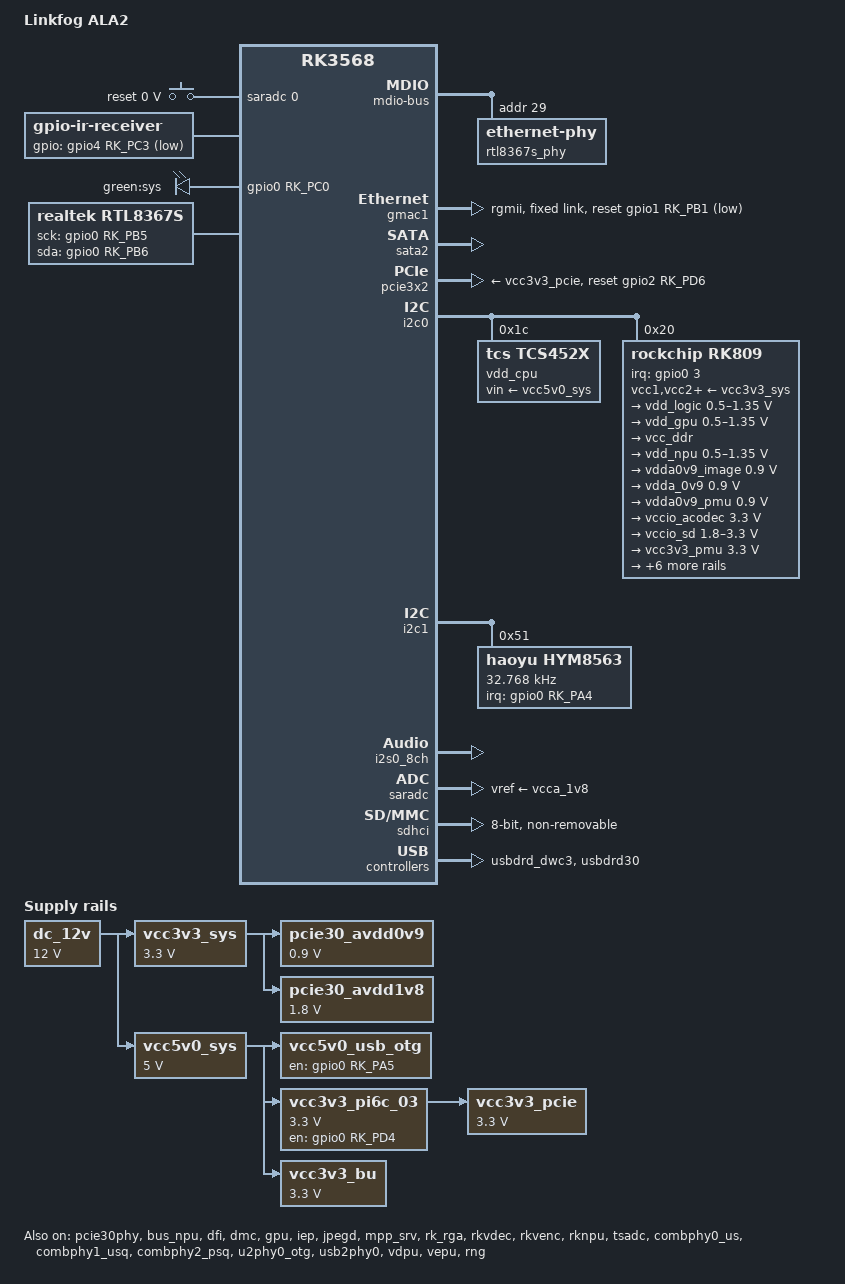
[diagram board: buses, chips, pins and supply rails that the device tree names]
// SPDX-License-Identifier: (GPL-2.0+ OR MIT)
/*
 * Copyright (c) 2020 Rockchip Electronics Co., Ltd.
 *
 */

/dts-v1/;

#include <dt-bindings/gpio/gpio.h>
#include <dt-bindings/pinctrl/rockchip.h>
#include <dt-bindings/input/rk-input.h>
#include "rk3568.dtsi"
#include "../rockchip-drm-vvop.dtsi"

/ {
	model = "Linkfog ALA2";
	compatible = "linkfog,ala2", "rockchip,rk3568";

	chosen: chosen {
		bootargs = "earlycon=uart8250,mmio32,0xfe660000 console=ttyFIQ0 root=PARTUUID=614e0000-0000 rw rootwait";
	};

	aliases {
		led-boot = &sys_led;
		led-failsafe = &sys_led;
		led-running = &sys_led;
		led-upgrade = &sys_led;
	};

	fiq-debugger {
		compatible = "rockchip,fiq-debugger";
		rockchip,serial-id = <2>;
		rockchip,wake-irq = <0>;
		/* If enable uart uses irq instead of fiq */
		rockchip,irq-mode-enable = <1>;
		rockchip,baudrate = <1500000>;  /* Only 115200 and 1500000 */
		interrupts = <GIC_SPI 252 IRQ_TYPE_LEVEL_LOW>;
		pinctrl-names = "default";
		pinctrl-0 = <&uart2m0_xfer>;
		status = "okay";
	};

	debug: debug@fd904000 {
		compatible = "rockchip,debug";
		reg = <0x0 0xfd904000 0x0 0x1000>,
			<0x0 0xfd905000 0x0 0x1000>,
			<0x0 0xfd906000 0x0 0x1000>,
			<0x0 0xfd907000 0x0 0x1000>;
	};

	cspmu: cspmu@fd90c000 {
		compatible = "rockchip,cspmu";
		reg = <0x0 0xfd90c000 0x0 0x1000>,
			<0x0 0xfd90d000 0x0 0x1000>,
			<0x0 0xfd90e000 0x0 0x1000>,
			<0x0 0xfd90f000 0x0 0x1000>;
	};

	dc_12v: dc-12v {
		compatible = "regulator-fixed";
		regulator-name = "dc_12v";
		regulator-always-on;
		regulator-boot-on;
		regulator-min-microvolt = <12000000>;
		regulator-max-microvolt = <12000000>;
	};

	vcc3v3_sys: vcc3v3-sys {
		compatible = "regulator-fixed";
		regulator-name = "vcc3v3_sys";
		regulator-always-on;
		regulator-boot-on;
		regulator-min-microvolt = <3300000>;
		regulator-max-microvolt = <3300000>;
		vin-supply = <&dc_12v>;
	};

	vcc5v0_sys: vcc5v0-sys {
		compatible = "regulator-fixed";
		regulator-name = "vcc5v0_sys";
		regulator-always-on;
		regulator-boot-on;
		regulator-min-microvolt = <5000000>;
		regulator-max-microvolt = <5000000>;
		vin-supply = <&dc_12v>;
	};

	vcc5v0_usb_otg: vcc5v0-usb-otg {
		compatible = "regulator-fixed";
		enable-active-high;
		gpio = <&gpio0 RK_PA5 GPIO_ACTIVE_HIGH>;
		pinctrl-names = "default";
		pinctrl-0 = <&vcc5v0_otg_en>;
		regulator-name = "vcc5v0_usb_otg";
		vin-supply = <&vcc5v0_sys>;
	};

	pcie30_avdd0v9: pcie30-avdd0v9 {
		compatible = "regulator-fixed";
		regulator-name = "pcie30_avdd0v9";
		regulator-always-on;
		regulator-boot-on;
		regulator-min-microvolt = <900000>;
		regulator-max-microvolt = <900000>;
		vin-supply = <&vcc3v3_sys>;
	};

	pcie30_avdd1v8: pcie30-avdd1v8 {
		compatible = "regulator-fixed";
		regulator-name = "pcie30_avdd1v8";
		regulator-always-on;
		regulator-boot-on;
		regulator-min-microvolt = <1800000>;
		regulator-max-microvolt = <1800000>;
		vin-supply = <&vcc3v3_sys>;
	};

    vcc3v3_pi6c_03: vcc3v3-pi6c-03 {
		compatible = "regulator-fixed";
		regulator-name = "vcc3v3_pi6c_03";
		pinctrl-names = "default";
		pinctrl-0 = <&vcc3v3_pi6c_03_en>;
		regulator-always-on;
		regulator-boot-on;
		enable-active-high;
		regulator-min-microvolt = <3300000>;
		regulator-max-microvolt = <3300000>;
		vin-supply = <&vcc5v0_sys>;
		gpio = <&gpio0 RK_PD4 GPIO_ACTIVE_HIGH>;
	};

	vcc3v3_pcie: vcc3v3-pcie {
		compatible = "regulator-fixed";
		regulator-name = "vcc3v3_pcie";
		regulator-always-on;
		regulator-boot-on;
		regulator-min-microvolt = <3300000>;
		regulator-max-microvolt = <3300000>;
		vin-supply = <&vcc3v3_pi6c_03>;
	};

	vcc3v3_bu: vcc3v3-bu {
		compatible = "regulator-fixed";
		regulator-name = "vcc3v3_bu";
		regulator-always-on;
		regulator-boot-on;
		regulator-min-microvolt = <3300000>;
		regulator-max-microvolt = <3300000>;
		vin-supply = <&vcc5v0_sys>;
	};

	adc_keys: adc-keys {
		compatible = "adc-keys";
		io-channels = <&saradc 0>;
		io-channel-names = "buttons";
		keyup-threshold-microvolt = <1800000>;
		poll-interval = <100>;

		button-reset {
			label = "reset";
			linux,code = <KEY_RESTART>;
			press-threshold-microvolt = <9>;
		};
	};

	ir-receiver {
		compatible = "gpio-ir-receiver";
		gpios = <&gpio4 RK_PC3 GPIO_ACTIVE_LOW>;
		pinctrl-names = "default";
		pinctrl-0 = <&ir_receiver_pin>;
	};

	leds {
		compatible = "gpio-leds";
		pinctrl-names = "default";
		pinctrl-0 = <&led_sys>;
		sys_led: sys {
			gpios = <&gpio0 RK_PC0 GPIO_ACTIVE_HIGH>;
			label = "green:sys";
		};
	};

	rtl8367s {
		compatible = "realtek,rtl8367s", "realtek,rtl8367c", "realtek,rtl8367b";
		cpu_port = <7>;
		realtek,extif2 = <1 0 1 1 1 1 1 1 2>;
		pinctrl-names = "default";
		pinctrl-0 = <&gmac1_mdio_gpio>;
		gpio-sck = <&gpio0 RK_PB5 GPIO_ACTIVE_HIGH>;
		gpio-sda = <&gpio0 RK_PB6 GPIO_ACTIVE_HIGH>;

		mdio-bus {
			#address-cells = <1>;
			#size-cells = <0>;
			status = "okay";

			rtl8367s_phy: ethernet-phy@29 {
				reg = <29>;
				phy-mode = "rgmii";
			};
		};
	};

	hdmi_sound: hdmi-sound {
		compatible = "simple-audio-card";
		simple-audio-card,format = "i2s";
		simple-audio-card,mclk-fs = <128>;
		simple-audio-card,name = "rockchip,hdmi";
		status = "disabled";

		simple-audio-card,cpu {
				sound-dai = <&i2s0_8ch>;
		};
		simple-audio-card,codec {
				sound-dai = <&hdmi>;
		};
	};
};

&gmac0 {
	status = "disabled";
};

&gmac1 {
	snps,reset-gpio = <&gpio1 RK_PB1 GPIO_ACTIVE_LOW>;
	snps,reset-active-low;
	snps,reset-delays-us = <0 20000 100000>;

	phy-mode = "rgmii";
	clock_in_out = "output";

	assigned-clocks = <&cru SCLK_GMAC1_RX_TX>, <&cru SCLK_GMAC1>;
	assigned-clock-parents = <&cru SCLK_GMAC1_RGMII_SPEED>, <&cru CLK_MAC1_2TOP>;
	assigned-clock-rates = <0>, <125000000>;

	pinctrl-names = "default";
	pinctrl-0 = <&gmac1m1_miim
		     &gmac1m1_tx_bus2
		     &gmac1m1_rx_bus2
		     &gmac1m1_rgmii_clk
		     &gmac1m1_rgmii_bus>;

	tx_delay = <0x4f>;
	rx_delay = <0x0f>;
	status = "okay";

	fixed-link {
		full-duplex;
		speed = <1000>;
		pause;
	};
};

&sata2 {
	status = "okay";
};

&pcie30phy {
	phy-supply = <&vcc3v3_pi6c_03>;
	rockchip,pipe-grf = <&pipegrf>;
	status = "okay";
};

&pcie3x1 {
	status = "disabled";
};

&pcie3x2 {
    reset-gpios = <&gpio2 RK_PD6 GPIO_ACTIVE_HIGH>;
	vpcie3v3-supply = <&vcc3v3_pcie>;
	status = "okay";
};

&bus_npu {
	bus-supply = <&vdd_logic>;
	pvtm-supply = <&vdd_cpu>;
	status = "okay";
};

&cpu0 {
	cpu-supply = <&vdd_cpu>;
};

&dfi {
	status = "okay";
};

&dmc {
	center-supply = <&vdd_logic>;
	status = "okay";
};

&gpu {
	mali-supply = <&vdd_gpu>;
	status = "okay";
};

&hdmi {
	avdd-0v9-supply = <&vdda0v9_image>;
	avdd-1v8-supply = <&vcca1v8_pmu>;
	status = "disabled";
};

&hdmi_in_vp0 {
	status = "disabled";
};

&hdmi_in_vp1 {
	status = "disabled";
};

&hdmi_sound {
	status = "disabled";
};

&route_hdmi {
	status = "disabled";
	connect = <&vp0_out_hdmi>;
};

&i2c0 {
	status = "okay";

	vdd_cpu: tcs4525@1c {
		compatible = "tcs,tcs452x";
		reg = <0x1c>;
		vin-supply = <&vcc5v0_sys>;
		regulator-compatible = "fan53555-reg";
		regulator-name = "vdd_cpu";
		regulator-min-microvolt = <712500>;
		regulator-max-microvolt = <1150000>;
		regulator-ramp-delay = <2300>;
		fcs,suspend-voltage-selector = <1>;
		regulator-boot-on;
		regulator-always-on;
		regulator-state-mem {
			regulator-off-in-suspend;
		};
	};

	rk809: pmic@20 {
		compatible = "rockchip,rk809";
		reg = <0x20>;
		interrupt-parent = <&gpio0>;
		interrupts = <3 IRQ_TYPE_LEVEL_LOW>;

		pinctrl-names = "default";
		pinctrl-0 = <&pmic_int>;

		rockchip,system-power-controller;
		wakeup-source;
		#clock-cells = <1>;
		clock-output-names = "rk808-clkout1", "rk808-clkout2";
		//fb-inner-reg-idxs = <2>;
		/* 1: rst regs (default in codes), 0: rst the pmic */
		pmic-reset-func = <0>;
		/* not save the PMIC_POWER_EN register in uboot */
		not-save-power-en = <1>;

		vcc1-supply = <&vcc3v3_sys>;
		vcc2-supply = <&vcc3v3_sys>;
		vcc3-supply = <&vcc3v3_sys>;
		vcc4-supply = <&vcc3v3_sys>;
		vcc5-supply = <&vcc3v3_sys>;
		vcc6-supply = <&vcc3v3_sys>;
		vcc7-supply = <&vcc3v3_sys>;
		vcc8-supply = <&vcc3v3_sys>;
		vcc9-supply = <&vcc3v3_sys>;

		pinctrl_rk8xx: pinctrl_rk8xx {
			gpio-controller;
			#gpio-cells = <2>;

			rk817_slppin_null: rk817_slppin_null {
				pins = "gpio_slp";
				function = "pin_fun0";
			};

			rk817_slppin_slp: rk817_slppin_slp {
				pins = "gpio_slp";
				function = "pin_fun1";
			};

			rk817_slppin_pwrdn: rk817_slppin_pwrdn {
				pins = "gpio_slp";
				function = "pin_fun2";
			};

			rk817_slppin_rst: rk817_slppin_rst {
				pins = "gpio_slp";
				function = "pin_fun3";
			};
		};

		regulators {
			vdd_logic: DCDC_REG1 {
				regulator-always-on;
				regulator-boot-on;
				regulator-min-microvolt = <500000>;
				regulator-max-microvolt = <1350000>;
				regulator-init-microvolt = <900000>;
				regulator-ramp-delay = <6001>;
				regulator-initial-mode = <0x2>;
				regulator-name = "vdd_logic";
				regulator-state-mem {
					regulator-off-in-suspend;
				};
			};

			vdd_gpu: DCDC_REG2 {
				regulator-always-on;
				regulator-boot-on;
				regulator-min-microvolt = <500000>;
				regulator-max-microvolt = <1350000>;
				regulator-init-microvolt = <900000>;
				regulator-ramp-delay = <6001>;
				regulator-initial-mode = <0x2>;
				regulator-name = "vdd_gpu";
				regulator-state-mem {
					regulator-off-in-suspend;
				};
			};

			vcc_ddr: DCDC_REG3 {
				regulator-always-on;
				regulator-boot-on;
				regulator-initial-mode = <0x2>;
				regulator-name = "vcc_ddr";
				regulator-state-mem {
					regulator-on-in-suspend;
				};
			};

			vdd_npu: DCDC_REG4 {
				regulator-always-on;
				regulator-boot-on;
				regulator-min-microvolt = <500000>;
				regulator-max-microvolt = <1350000>;
				regulator-init-microvolt = <900000>;
				regulator-ramp-delay = <6001>;
				regulator-initial-mode = <0x2>;
				regulator-name = "vdd_npu";
				regulator-state-mem {
					regulator-off-in-suspend;
				};
			};

			vdda0v9_image: LDO_REG1 {
				regulator-min-microvolt = <900000>;
				regulator-max-microvolt = <900000>;
				regulator-name = "vdda0v9_image";
				regulator-state-mem {
					regulator-off-in-suspend;
				};
			};

			vdda_0v9: LDO_REG2 {
				regulator-always-on;
				regulator-boot-on;
				regulator-min-microvolt = <900000>;
				regulator-max-microvolt = <900000>;
				regulator-name = "vdda_0v9";
				regulator-state-mem {
					regulator-off-in-suspend;
				};
			};

			vdda0v9_pmu: LDO_REG3 {
				regulator-always-on;
				regulator-boot-on;
				regulator-min-microvolt = <900000>;
				regulator-max-microvolt = <900000>;
				regulator-name = "vdda0v9_pmu";
				regulator-state-mem {
					regulator-on-in-suspend;
					regulator-suspend-microvolt = <900000>;
				};
			};

			vccio_acodec: LDO_REG4 {
				regulator-always-on;
				regulator-boot-on;
				regulator-min-microvolt = <3300000>;
				regulator-max-microvolt = <3300000>;
				regulator-name = "vccio_acodec";
				regulator-state-mem {
					regulator-off-in-suspend;
				};
			};

			vccio_sd: LDO_REG5 {
				regulator-always-on;
				regulator-boot-on;
				regulator-min-microvolt = <1800000>;
				regulator-max-microvolt = <3300000>;
				regulator-name = "vccio_sd";
				regulator-state-mem {
					regulator-off-in-suspend;
				};
			};

			vcc3v3_pmu: LDO_REG6 {
				regulator-always-on;
				regulator-boot-on;
				regulator-min-microvolt = <3300000>;
				regulator-max-microvolt = <3300000>;
				regulator-name = "vcc3v3_pmu";
				regulator-state-mem {
					regulator-on-in-suspend;
					regulator-suspend-microvolt = <3300000>;
				};
			};

			vcca_1v8: LDO_REG7 {
				regulator-always-on;
				regulator-boot-on;
				regulator-min-microvolt = <1800000>;
				regulator-max-microvolt = <1800000>;
				regulator-name = "vcca_1v8";
				regulator-state-mem {
					regulator-off-in-suspend;
				};
			};

			vcca1v8_pmu: LDO_REG8 {
				regulator-always-on;
				regulator-boot-on;
				regulator-min-microvolt = <1800000>;
				regulator-max-microvolt = <1800000>;
				regulator-name = "vcca1v8_pmu";
				regulator-state-mem {
					regulator-on-in-suspend;
					regulator-suspend-microvolt = <1800000>;
				};
			};

			vcca1v8_image: LDO_REG9 {
				regulator-min-microvolt = <1800000>;
				regulator-max-microvolt = <1800000>;
				regulator-name = "vcca1v8_image";
				regulator-state-mem {
					regulator-off-in-suspend;
				};
			};

			vcc_1v8: DCDC_REG5 {
				regulator-always-on;
				regulator-boot-on;
				regulator-min-microvolt = <1800000>;
				regulator-max-microvolt = <1800000>;
				regulator-name = "vcc_1v8";
				regulator-state-mem {
					regulator-off-in-suspend;
				};
			};

			vcc_3v3: SWITCH_REG1 {
				regulator-always-on;
				regulator-boot-on;
				regulator-name = "vcc_3v3";
				regulator-state-mem {
					regulator-off-in-suspend;
				};
			};

			vcc3v3_sd: SWITCH_REG2 {
				regulator-always-on;
				regulator-boot-on;
				regulator-name = "vcc3v3_sd";
				regulator-state-mem {
					regulator-off-in-suspend;
				};
			};
		};
	};
};

&i2c1 {
	status = "okay";

	hym8563: rtc@51 {
		compatible = "haoyu,hym8563";
		reg = <0x51>;
		#clock-cells = <0>;
		clock-frequency = <32768>;
		clock-output-names = "rtcic_32kout";
		interrupt-parent = <&gpio0>;
		interrupts = <RK_PA4 IRQ_TYPE_LEVEL_LOW>;
		wakeup-source;
		pinctrl-names = "default";
		pinctrl-0 = <&hym8563_int>;
	};
};

&i2s0_8ch {
	status = "okay";
};

&i2s1_8ch {
	status = "disabled";
	rockchip,clk-trcm = <1>;
	pinctrl-names = "default";
	pinctrl-0 = <&i2s1m0_sclktx
		&i2s1m0_lrcktx
		&i2s1m0_sdi0
		&i2s1m0_sdo0>;
};

&iep {
	status = "okay";
};

&iep_mmu {
	status = "okay";
};

&jpegd {
	status = "okay";
};

&jpegd_mmu {
	status = "okay";
};

&mpp_srv {
	status = "okay";
};

&pmu_io_domains {
	status = "okay";
	pmuio1-supply = <&vcc3v3_pmu>;
	pmuio2-supply = <&vcc3v3_pmu>;
	vccio1-supply = <&vcc_3v3>;
	vccio2-supply = <&vcc_1v8>;
	vccio3-supply = <&vcc_3v3>;
	vccio4-supply = <&vcc_1v8>;
	vccio5-supply = <&vcc_3v3>;
	vccio6-supply = <&vcc_3v3>;
	vccio7-supply = <&vcc_3v3>;
};

&rk_rga {
	status = "okay";
};

&rkvdec {
	status = "okay";
};

&rkvdec_mmu {
	status = "okay";
};

&rkvenc {
	venc-supply = <&vdd_logic>;
	status = "okay";
};

&rkvenc_mmu {
	status = "okay";
};

&rknpu {
	rknpu-supply = <&vdd_npu>;
	status = "okay";
};

&rknpu_mmu {
	status = "okay";
};

&saradc {
	status = "okay";
	vref-supply = <&vcca_1v8>;
};

&sdhci {
	bus-width = <8>;
	no-sdio;
	no-sd;
	non-removable;
	max-frequency = <200000000>;
	pinctrl-names = "default";
	pinctrl-0 = <&emmc_bus8 &emmc_clk &emmc_cmd>;
	status = "okay";
};

&tsadc {
	status = "okay";
};

&combphy0_us {
	status = "okay";
};

&combphy1_usq {
	status = "okay";
};

&combphy2_psq {
	status = "okay";
};

&u2phy0_host {
	status = "disabled";
};

&u2phy0_otg {
	vbus-supply = <&vcc5v0_usb_otg>;
	status = "okay";
};

&u2phy1_host {
	status = "disabled";
};

&u2phy1_otg {
	status = "disabled";
};

&usb2phy0 {
	status = "okay";
};

&usb2phy1 {
	status = "disabled";
};

&usbdrd_dwc3 {
	extcon = <&usb2phy0>;
	status = "okay";
};

&usbdrd30 {
	status = "okay";
};

&usbhost_dwc3 {
	status = "disabled";
};

&usbhost30 {
	status = "disabled";
};

&vad {
	rockchip,audio-src = <&i2s1_8ch>;
	rockchip,buffer-time-ms = <128>;
	rockchip,det-channel = <0>;
	rockchip,mode = <0>;
	status = "disabled";
};

&vdpu {
	status = "okay";
};

&vdpu_mmu {
	status = "okay";
};

&vepu {
	status = "okay";
};

&vepu_mmu {
	status = "okay";
};

&vop {
	status = "disabled";
	assigned-clocks = <&cru DCLK_VOP0>, <&cru DCLK_VOP1>;
	assigned-clock-parents = <&pmucru PLL_HPLL>, <&cru PLL_VPLL>;
	support-multi-area;
};

&vop_mmu {
	status = "okay";
};

&reserved_memory {
	ramoops: ramoops@110000 {
		compatible = "ramoops";
		reg = <0x0 0x110000 0x0 0xf0000>;
		record-size = <0x20000>;
		console-size = <0x80000>;
		ftrace-size = <0x00000>;
		pmsg-size = <0x50000>;
	};
};

&rng {
	status = "okay";
};

&rockchip_suspend {
	status = "okay";
};

&pinctrl {
	pmic {
		pmic_int: pmic_int {
			rockchip,pins =
				<0 RK_PA3 RK_FUNC_GPIO &pcfg_pull_up>;
		};
	};

	hym8563 {
		hym8563_int: hym8563-int {
			rockchip,pins = <0 RK_PA4 RK_FUNC_GPIO &pcfg_pull_up>;
		};
	};

	usb {
		vcc5v0_otg_en: vcc5v0-otg-en {
			rockchip,pins = <0 RK_PA5 RK_FUNC_GPIO &pcfg_pull_none>;
		};
	};

	pcie {
		vcc3v3_pi6c_03_en: vcc3v3-pi6c-03-en {
			rockchip,pins = <0 RK_PD4 RK_FUNC_GPIO &pcfg_pull_none>;
		};
	};

	leds {
		led_sys: led-sys {
			rockchip,pins = <0 RK_PC0 RK_FUNC_GPIO &pcfg_pull_none>;
		};
	};

	ir-receiver {
		ir_receiver_pin: ir-receiver-pin {
			rockchip,pins = <4 RK_PC3 RK_FUNC_GPIO &pcfg_pull_none>;
		};
	};

	rtl8367s {
		gmac1_mdio_gpio: gmac1-mdio-gpio {
			rockchip,pins =
				/* gmac1_mdc */
				<0 RK_PB5 RK_FUNC_GPIO &pcfg_pull_none>,
				/* gmac1_mdio */
				<0 RK_PB6 RK_FUNC_GPIO &pcfg_pull_none>;
		};
	};
};
